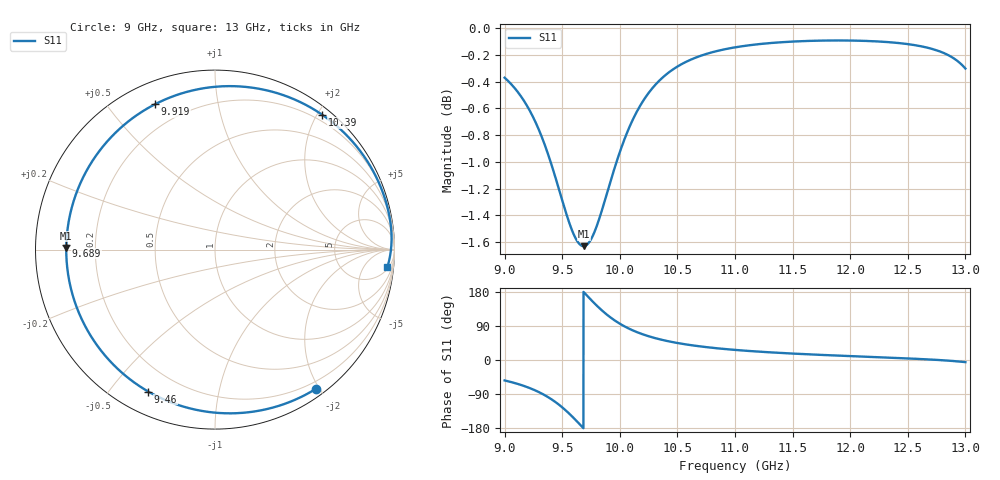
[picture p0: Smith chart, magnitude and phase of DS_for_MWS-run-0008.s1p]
! TOUCHSTONE file generated by CST DESIGN STUDIO
! Date and time: Tue Feb  4 17:27:19 2025
! Project name: C:\Work\MatlabApps\UnitCellOptimizationMatlab\CST\unitcell.cst
! Tree item: Tasks\Sweep1\SPara1\S-Parameters
! Header version: 2024
! Port assignment regex: !\s*Touchstone port\s*([0-9]+)\s*=\s*(CST MWS port|CST DES external port|CST DES block port)\s*(.+)\s* \(\"(.*)\"\)(\s*mode\s*([0-9]+))?.*
! Touchstone port assignment:
! Touchstone port 1 = CST DES external port 1 ("")
# GHz S MA R 50
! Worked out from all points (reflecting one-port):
!   4001 points, 9 GHz to 13 GHz, reference 50 ohm
!   lowest |S11| = -1.6 dB at 9.686 GHz (marker M1), VSWR 10.68, Z = 4.68 + j0.274 ohm
!   phase of S11 starts at -54 deg and turns -312 deg over the sweep
!   S11 on the Smith chart (normalised r, x): 9 GHz: 0.10, -1.96; 9.46 GHz: 0.09, -0.63; 9.689 GHz: 0.09, +0.01; 9.919 GHz: 0.10, +0.67; 10.39 GHz: 0.11, +2.07; 13 GHz: 6, -18
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9  0.9582 -53.9
9.12  0.9457 -63.7
9.236  0.9283 -76.3
9.361  0.9012 -95.0
9.46  0.8739 -115.2
9.5  0.8622 -124.9
9.55  0.8485 -138.4
9.603  0.8367 -154.1
9.645  0.8308 -167.3
9.686  0.8288 179.4
9.689  0.8288 178.4
9.747  0.8333 159.7
9.812  0.8462 140.0
9.865  0.8605 125.5
9.919  0.8762 112.4
10  0.8987 95.8
10.09  0.9196 81.3
10.182  0.9361 69.7
10.281  0.9493 59.9
10.391  0.9599 51.5
10.5  0.9674 44.9
10.719  0.977 35.1
11  0.9835 26.6
11.5  0.9884 17.0
12  0.9893 10.3
12.5  0.9863 4.1
12.788  0.9797 -0.4
13  0.9657 -5.7
